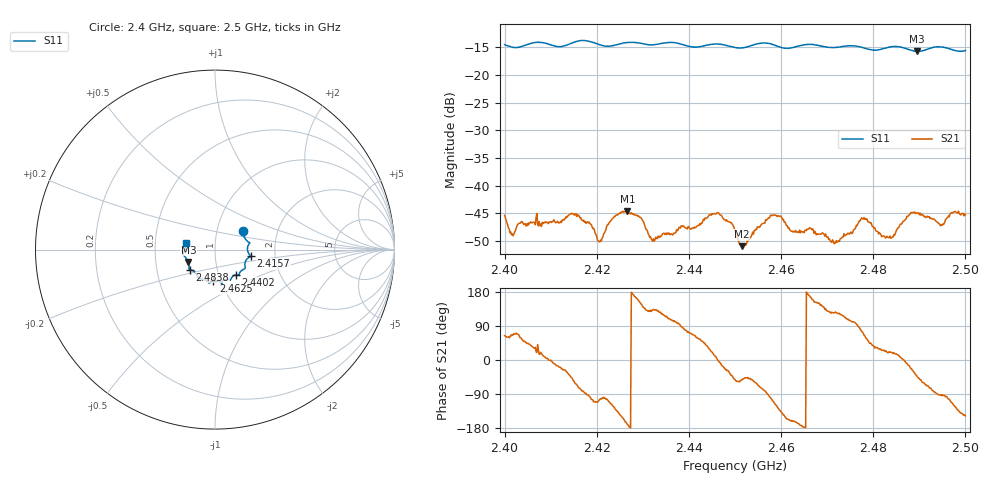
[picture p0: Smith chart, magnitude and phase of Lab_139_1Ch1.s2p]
# Hz S RI R 50
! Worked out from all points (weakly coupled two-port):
!   601 points, 2.4 GHz to 2.5 GHz, reference 50 ohm
!   highest |S21| = -44.56 dB at 2.4267 GHz (marker M1); lowest = -51.0 dB at 2.4515 GHz (marker M2)
!   lowest |S11| = -15.7 dB at 2.4895 GHz (marker M3), VSWR 1.39, Z = 36.8 - j5.17 ohm
!   |S11| at or under -10 dB: start of sweep to end of sweep
!   S12 and S22 are empty: the file has one direction only
!   S11 on the Smith chart (normalised r, x): 2.4 GHz: 1.33, +0.29; 2.4157 GHz: 1.49, -0.11; 2.4402 GHz: 1.20, -0.35; 2.4625 GHz: 0.92, -0.34; 2.4838 GHz: 0.74, -0.17; 2.5 GHz: 0.72, +0.05
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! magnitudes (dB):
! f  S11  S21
! 2.4 GHz  -14.5  -45.4
! 2.4017 GHz  -15.0  -48.7
! 2.4157 GHz  -13.9  -45.6
! 2.4167 GHz  -13.7  -46.2
! 2.4207 GHz  -14.5  -50.2
! 2.4237 GHz  -14.6  -45.8
! 2.4267 GHz  -14.1  -44.6
! 2.4333 GHz  -14.4  -49.1
! 2.4402 GHz  -14.8  -47.7
! 2.446 GHz  -14.4  -45.0
! 2.45 GHz  -15.0  -48.1
! 2.4515 GHz  -15.1  -51.0
! 2.4582 GHz  -14.5  -45.4
! 2.4625 GHz  -15.0  -48.3
! 2.4667 GHz  -14.5  -48.0
! 2.472 GHz  -15.0  -50.0
! 2.478 GHz  -15.1  -45.8
! 2.4833 GHz  -15.0  -49.5
! 2.4838 GHz  -14.9  -49.5
! 2.4895 GHz  -15.7  -44.9
! 2.4948 GHz  -14.9  -47.1
! 2.5 GHz  -15.6  -45.3
